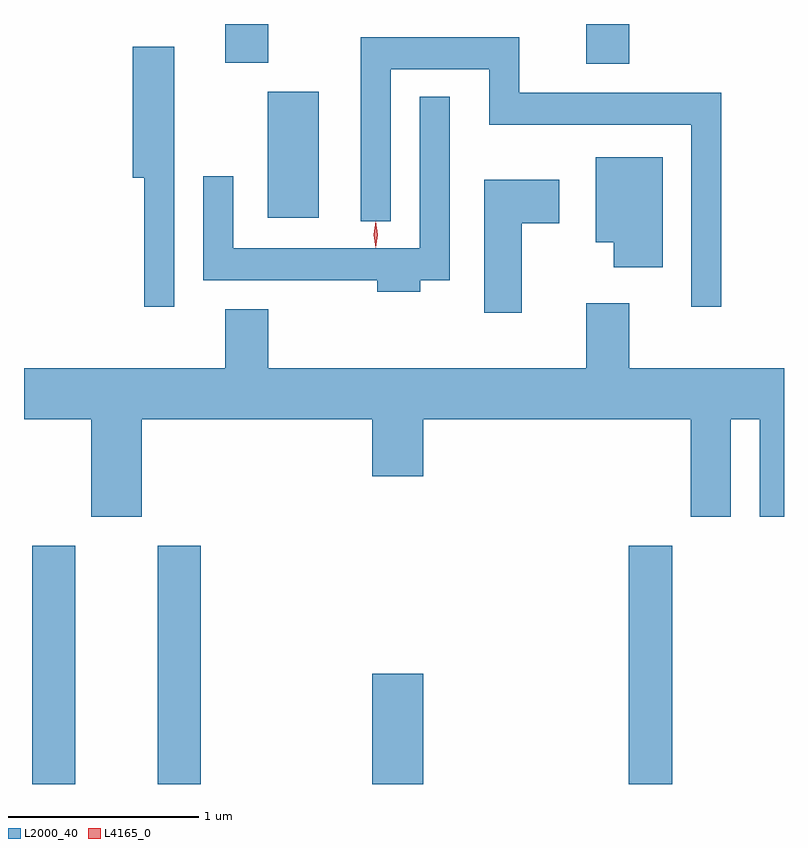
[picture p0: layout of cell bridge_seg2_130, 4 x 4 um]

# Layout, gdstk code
import gdstk
lib = gdstk.Library(unit=1e-6, precision=1e-09)
def R(c, l, rs):  # rectangles x0, y0, x1, y1
    for r in rs: c.add(gdstk.rectangle(r[:2], r[2:], *l))
def P(c, l, *ps):  # polygons
    for p in ps: c.add(gdstk.Polygon(p, *l))
L2000_40 = (2000, 40)
L4165_0 = (4165, 0)

bridge_seg2_130 = lib.new_cell('bridge_seg2_130')
R(bridge_seg2_130, L2000_40, [(992.506,1110.775,992.734,1112.029), (993.166,1110.775,993.394,1112.029), (994.296,1110.775,994.564,1111.354), (995.646,1110.775,995.874,1112.029), (993.746,1113.756,994.014,1114.419), (995.421,1114.566,995.649,1114.775), (993.521,1114.571,993.749,1114.775)])
P(bridge_seg2_130, L2000_40, [(996.134,1114.414),(995.069,1114.414),(995.069,1114.704),(994.236,1114.704),(994.236,1113.738),(994.394,1113.738),(994.394,1114.536),(994.911,1114.536),(994.911,1114.246),(995.976,1114.246),(995.976,1113.288),(996.134,1113.288)],
  [(993.254,1114.654),(993.036,1114.654),(993.036,1113.966),(993.096,1113.966),(993.096,1113.288),(993.254,1113.288)],
  [(994.549,1113.426),(994.704,1113.426),(994.704,1114.393),(994.546,1114.393),(994.546,1113.594),(993.564,1113.594),(993.564,1113.973),(993.406,1113.973),(993.406,1113.426),(994.321,1113.426),(994.321,1113.366),(994.549,1113.366)],
  [(995.824,1114.074),(995.471,1114.074),(995.471,1113.626),(995.566,1113.626),(995.566,1113.496),(995.824,1113.496)],
  [(995.084,1113.726),(995.279,1113.726),(995.279,1113.954),(994.886,1113.954),(994.886,1113.256),(995.084,1113.256)],
  [(992.463,1112.696),(992.816,1112.696),(992.816,1112.181),(993.084,1112.181),(993.084,1112.696),(994.296,1112.696),(994.296,1112.396),(994.564,1112.396),(994.564,1112.696),(995.971,1112.696),(995.971,1112.181),(996.184,1112.181),(996.184,1112.696),(996.336,1112.696),(996.336,1112.181),(996.463,1112.181),(996.463,1112.964),(995.649,1112.964),(995.649,1113.304),(995.421,1113.304),(995.421,1112.964),(993.749,1112.964),(993.749,1113.274),(993.521,1113.274),(993.521,1112.964),(992.463,1112.964)])
P(bridge_seg2_130, L4165_0, [(994.314,1113.599),(994.314,1113.6),(994.304,1113.666),(994.314,1113.732),(994.314,1113.733),(994.315,1113.732),(994.324,1113.666),(994.315,1113.6)],
  [(994.314,1113.597),(994.305,1113.666),(994.314,1113.736),(994.315,1113.736),(994.315,1113.736),(994.325,1113.666),(994.315,1113.597),(994.315,1113.597)])

lib.write_gds('bridge_seg2_130.gds')
